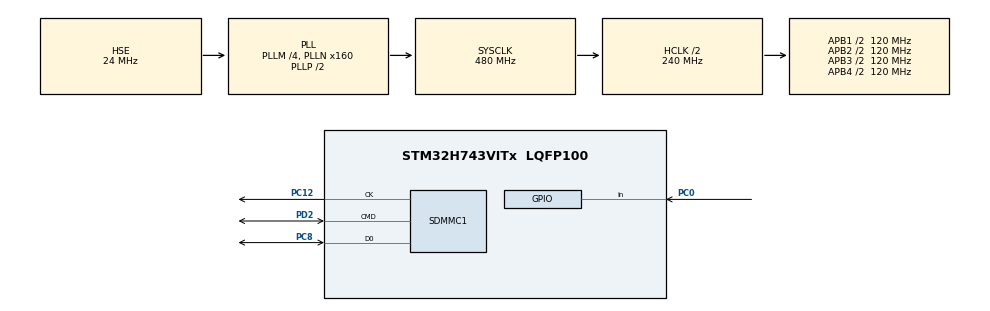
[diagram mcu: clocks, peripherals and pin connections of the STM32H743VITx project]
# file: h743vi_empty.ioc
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CORTEX_M7.AccessPermission-Cortex_Memory_Protection_Unit_Region0_Settings=MPU_REGION_FULL_ACCESS
CORTEX_M7.AccessPermission-Cortex_Memory_Protection_Unit_Region1_Settings=MPU_REGION_FULL_ACCESS
CORTEX_M7.BaseAddress-Cortex_Memory_Protection_Unit_Region0_Settings=0x90000000
CORTEX_M7.BaseAddress-Cortex_Memory_Protection_Unit_Region1_Settings=0x90000000
CORTEX_M7.CPU_ICache=Enabled
CORTEX_M7.DisableExec-Cortex_Memory_Protection_Unit_Region0_Settings=MPU_INSTRUCTION_ACCESS_DISABLE
CORTEX_M7.Enable-Cortex_Memory_Protection_Unit_Region0_Settings=MPU_REGION_ENABLE
CORTEX_M7.Enable-Cortex_Memory_Protection_Unit_Region1_Settings=MPU_REGION_ENABLE
CORTEX_M7.IsBufferable-Cortex_Memory_Protection_Unit_Region0_Settings=MPU_ACCESS_BUFFERABLE
CORTEX_M7.IsBufferable-Cortex_Memory_Protection_Unit_Region1_Settings=MPU_ACCESS_BUFFERABLE
CORTEX_M7.IsCacheable-Cortex_Memory_Protection_Unit_Region0_Settings=MPU_ACCESS_CACHEABLE
CORTEX_M7.IsCacheable-Cortex_Memory_Protection_Unit_Region1_Settings=MPU_ACCESS_CACHEABLE
CORTEX_M7.MPU_Control=MPU_PRIVILEGED_DEFAULT
CORTEX_M7.Size-Cortex_Memory_Protection_Unit_Region0_Settings=MPU_REGION_SIZE_16MB
CORTEX_M7.Size-Cortex_Memory_Protection_Unit_Region1_Settings=MPU_REGION_SIZE_1MB
FATFS.BSP.number=1
FATFS._MAX_SS=4096
FATFS0.BSP.STBoard=false
FATFS0.BSP.api=Unknown
FATFS0.BSP.instance=PC0
FATFS0.BSP.ip=GPIO
FATFS0.BSP.mode=Input
FATFS0.BSP.name=Detect_SDIO
FATFS0.BSP.solution=PC0
FREERTOS.HEAP_NUMBER=1
FREERTOS.Tasks01=defaultTask,8,128,StartDefaultTask,Default,NULL,Static,defaultTaskBuffer,defaultTaskControlBlock;writeSDTask,8,1000,StartWriteSDTask,Default,NULL,Static,writeSDTaskBuffer,writeSDTaskControlBlock
FREERTOS.configMAX_TASK_NAME_LEN=30
FREERTOS.configUSE_NEWLIB_REENTRANT=1
Mcu.Family=STM32H7
Mcu.Name=STM32H743VITx
Mcu.Package=LQFP100
NVIC.PriorityGroup=NVIC_PRIORITYGROUP_4
NVIC.SDMMC1_IRQn=true\:5\:0\:false\:false\:true\:true\:true\:true\:true
NVIC.TIM2_IRQn=true\:0\:0\:true\:false\:true\:false\:false\:true\:true
NVIC.TimeBase=TIM2_IRQn
NVIC.TimeBaseIP=TIM2
PA13\ (JTMS/SWDIO).Mode=Serial_Wire
PA13\ (JTMS/SWDIO).Signal=DEBUG_JTMS-SWDIO
PA14\ (JTCK/SWCLK).Mode=Serial_Wire
PA14\ (JTCK/SWCLK).Signal=DEBUG_JTCK-SWCLK
PC0.GPIO_PuPd=GPIO_PULLUP
PC0.Signal=GPIO_Input
PC12.GPIO_PuPd=GPIO_PULLUP
PC12.Mode=SD_1_bit
PC12.Signal=SDMMC1_CK
PC8.GPIO_PuPd=GPIO_PULLUP
PC8.Mode=SD_1_bit
PC8.Signal=SDMMC1_D0
PD2.GPIO_PuPd=GPIO_PULLUP
PD2.Mode=SD_1_bit
PD2.Signal=SDMMC1_CMD
PH0-OSC_IN\ (PH0).Mode=HSE-External-Oscillator
PH0-OSC_IN\ (PH0).Signal=RCC_OSC_IN
PH1-OSC_OUT\ (PH1).Mode=HSE-External-Oscillator
PH1-OSC_OUT\ (PH1).Signal=RCC_OSC_OUT
ProjectManager.HeapSize=0x200
ProjectManager.StackSize=0x400
ProjectManager.TargetToolchain=STM32CubeIDE
RCC.ADCFreq_Value=108000000
RCC.APB1Freq_Value=120000000
RCC.APB2Freq_Value=120000000
RCC.APB3Freq_Value=120000000
RCC.APB4Freq_Value=120000000
RCC.CortexFreq_Value=480000000
RCC.D1PPRE=RCC_APB3_DIV2
RCC.D2PPRE1=RCC_APB1_DIV2
RCC.D2PPRE2=RCC_APB2_DIV2
RCC.D3PPRE=RCC_APB4_DIV2
RCC.DIVM1=4
RCC.DIVM2=16
RCC.DIVN1=160
RCC.DIVN2=144
RCC.DIVQ1=20
RCC.DIVR2=1
RCC.EnbaleCSS=true
RCC.HCLKFreq_Value=240000000
RCC.HPRE=RCC_HCLK_DIV2
RCC.HSE_VALUE=24000000
RCC.PLLSourceVirtual=RCC_PLLSOURCE_HSE
RCC.SYSCLKFreq_VALUE=480000000
RCC.SYSCLKSource=RCC_SYSCLKSOURCE_PLLCLK
RCC.USBFreq_Value=48000000
SDMMC1.ClockDiv=1
VP_FATFS_VS_SDIO.Mode=SDIO
VP_FREERTOS_VS_CMSIS_V2.Mode=CMSIS_V2
VP_SYS_VS_tim2.Mode=TIM2
board=custom

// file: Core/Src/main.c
/* USER CODE BEGIN Header */
/**
  ******************************************************************************
  * @file           : main.c
  * @brief          : Main program body
  ******************************************************************************
  * @attention
  *
  * Copyright (c) 2022 STMicroelectronics.
  * All rights reserved.
  *
  * This software is licensed under terms that can be found in the LICENSE file
  * in the root directory of this software component.
  * If no LICENSE file comes with this software, it is provided AS-IS.
  *
  ******************************************************************************
  */
/* USER CODE END Header */
#include "main.h"
#include "cmsis_os.h"
#include "fatfs.h"

typedef StaticTask_t osStaticThreadDef_t;

SD_HandleTypeDef hsd1;

/* Definitions for defaultTask */
osThreadId_t defaultTaskHandle;
uint32_t defaultTaskBuffer[ 128 ];
osStaticThreadDef_t defaultTaskControlBlock;
const osThreadAttr_t defaultTask_attributes = {
  .name = "defaultTask",
  .cb_mem = &defaultTaskControlBlock,
  .cb_size = sizeof(defaultTaskControlBlock),
  .stack_mem = &defaultTaskBuffer[0],
  .stack_size = sizeof(defaultTaskBuffer),
  .priority = (osPriority_t) osPriorityLow,
};
/* Definitions for writeSDTask */
osThreadId_t writeSDTaskHandle;
uint32_t writeSDTaskBuffer[ 1000 ];
osStaticThreadDef_t writeSDTaskControlBlock;
const osThreadAttr_t writeSDTask_attributes = {
  .name = "writeSDTask",
  .cb_mem = &writeSDTaskControlBlock,
  .cb_size = sizeof(writeSDTaskControlBlock),
  .stack_mem = &writeSDTaskBuffer[0],
  .stack_size = sizeof(writeSDTaskBuffer),
  .priority = (osPriority_t) osPriorityLow,
};
/* USER CODE BEGIN PV */
#ifdef _MAX_SS
	FRESULT res; /* FatFs function common result code */
	uint32_t byteswritten, bytesread; /* File write/read counts */
	uint8_t wtext[] = "STM32 FATFS works great!"; /* File write buffer */
	uint8_t rtext[_MAX_SS];/* File read buffer */
#endif // _MAX_SS
/* USER CODE END PV */

void SystemClock_Config(void);
static void MPU_Config(void);
static void MX_GPIO_Init(void);
static void MX_SDMMC1_SD_Init(void);
void StartDefaultTask(void *argument);
void StartWriteSDTask(void *argument);

int main(void)
{
  /* USER CODE BEGIN 1 */
uint8_t cnt  = 0;
  /* USER CODE END 1 */

  /* MPU Configuration--------------------------------------------------------*/
  MPU_Config();

  /* Enable I-Cache---------------------------------------------------------*/
  SCB_EnableICache();

  /* MCU Configuration--------------------------------------------------------*/

  /* Reset of all peripherals, Initializes the Flash interface and the Systick. */
  HAL_Init();

  /* Configure the system clock */
  SystemClock_Config();

  /* Initialize all configured peripherals */
  MX_GPIO_Init();
  MX_SDMMC1_SD_Init();
  MX_FATFS_Init();

  /* Init scheduler */
  osKernelInitialize();

  /* Create the thread(s) */
  /* creation of defaultTask */
  defaultTaskHandle = osThreadNew(StartDefaultTask, NULL, &defaultTask_attributes);

  /* creation of writeSDTask */
  writeSDTaskHandle = osThreadNew(StartWriteSDTask, NULL, &writeSDTask_attributes);

  /* Start scheduler */
  osKernelStart();

  /* We should never get here as control is now taken by the scheduler */
  /* Infinite loop */
  while (1)
  {

    /* USER CODE BEGIN 3 */
	  cnt++;
	  HAL_Delay(1000);
  }
  /* USER CODE END 3 */
}

void SystemClock_Config(void)
{
  RCC_OscInitTypeDef RCC_OscInitStruct = {0};
  RCC_ClkInitTypeDef RCC_ClkInitStruct = {0};

  /** Supply configuration update enable
  */
  HAL_PWREx_ConfigSupply(PWR_LDO_SUPPLY);

  /** Configure the main internal regulator output voltage
  */
  __HAL_PWR_VOLTAGESCALING_CONFIG(PWR_REGULATOR_VOLTAGE_SCALE1);

  while(!__HAL_PWR_GET_FLAG(PWR_FLAG_VOSRDY)) {}

  __HAL_RCC_SYSCFG_CLK_ENABLE();
  __HAL_PWR_VOLTAGESCALING_CONFIG(PWR_REGULATOR_VOLTAGE_SCALE0);

  while(!__HAL_PWR_GET_FLAG(PWR_FLAG_VOSRDY)) {}

  /** Initializes the RCC Oscillators according to the specified parameters
  * in the RCC_OscInitTypeDef structure.
  */
  RCC_OscInitStruct.OscillatorType = RCC_OSCILLATORTYPE_HSE;
  RCC_OscInitStruct.HSEState = RCC_HSE_ON;
  RCC_OscInitStruct.PLL.PLLState = RCC_PLL_ON;
  RCC_OscInitStruct.PLL.PLLSource = RCC_PLLSOURCE_HSE;
  RCC_OscInitStruct.PLL.PLLM = 4;
  RCC_OscInitStruct.PLL.PLLN = 160;
  RCC_OscInitStruct.PLL.PLLP = 2;
  RCC_OscInitStruct.PLL.PLLQ = 20;
  RCC_OscInitStruct.PLL.PLLR = 2;
  RCC_OscInitStruct.PLL.PLLRGE = RCC_PLL1VCIRANGE_2;
  RCC_OscInitStruct.PLL.PLLVCOSEL = RCC_PLL1VCOWIDE;
  RCC_OscInitStruct.PLL.PLLFRACN = 0;
  if (HAL_RCC_OscConfig(&RCC_OscInitStruct) != HAL_OK)
  {
    Error_Handler();
  }

  /** Initializes the CPU, AHB and APB buses clocks
  */
  RCC_ClkInitStruct.ClockType = RCC_CLOCKTYPE_HCLK|RCC_CLOCKTYPE_SYSCLK
                              |RCC_CLOCKTYPE_PCLK1|RCC_CLOCKTYPE_PCLK2
                              |RCC_CLOCKTYPE_D3PCLK1|RCC_CLOCKTYPE_D1PCLK1;
  RCC_ClkInitStruct.SYSCLKSource = RCC_SYSCLKSOURCE_PLLCLK;
  RCC_ClkInitStruct.SYSCLKDivider = RCC_SYSCLK_DIV1;
  RCC_ClkInitStruct.AHBCLKDivider = RCC_HCLK_DIV2;
  RCC_ClkInitStruct.APB3CLKDivider = RCC_APB3_DIV2;
  RCC_ClkInitStruct.APB1CLKDivider = RCC_APB1_DIV2;
  RCC_ClkInitStruct.APB2CLKDivider = RCC_APB2_DIV2;
  RCC_ClkInitStruct.APB4CLKDivider = RCC_APB4_DIV2;

  if (HAL_RCC_ClockConfig(&RCC_ClkInitStruct, FLASH_LATENCY_4) != HAL_OK)
  {
    Error_Handler();
  }

  /** Enables the Clock Security System
  */
  HAL_RCC_EnableCSS();
}

static void MX_SDMMC1_SD_Init(void)
{

  hsd1.Instance = SDMMC1;
  hsd1.Init.ClockEdge = SDMMC_CLOCK_EDGE_RISING;
  hsd1.Init.ClockPowerSave = SDMMC_CLOCK_POWER_SAVE_DISABLE;
  hsd1.Init.BusWide = SDMMC_BUS_WIDE_1B;
  hsd1.Init.HardwareFlowControl = SDMMC_HARDWARE_FLOW_CONTROL_DISABLE;
  hsd1.Init.ClockDiv = 1;

}

static void MX_GPIO_Init(void)
{
  GPIO_InitTypeDef GPIO_InitStruct = {0};

  /* GPIO Ports Clock Enable */
  __HAL_RCC_GPIOH_CLK_ENABLE();
  __HAL_RCC_GPIOC_CLK_ENABLE();
  __HAL_RCC_GPIOA_CLK_ENABLE();
  __HAL_RCC_GPIOD_CLK_ENABLE();

  /*Configure GPIO pin : PC0 */
  GPIO_InitStruct.Pin = GPIO_PIN_0;
  GPIO_InitStruct.Mode = GPIO_MODE_INPUT;
  GPIO_InitStruct.Pull = GPIO_PULLUP;
  HAL_GPIO_Init(GPIOC, &GPIO_InitStruct);

}

void StartDefaultTask(void *argument)
{
  for(;;)
  {
    osDelay(1);
  }
}

void StartWriteSDTask(void *argument)
{
  /* USER CODE BEGIN StartWriteSDTask */
  /* Infinite loop */
  for(;;)
  {
	  	if(f_mount(&SDFatFS, (TCHAR const*)SDPath, 0) != FR_OK)
	  	{
	  		Error_Handler();
	  	}
	  	else
	  	{
	  		if(f_mkfs((TCHAR const*)SDPath, FM_ANY, 0, rtext, sizeof(rtext)) != FR_OK)
	  	    {
	  			Error_Handler();
	  	    }
	  		else
	  		{
	  			//Open file for writing (Create)
	  			if(f_open(&SDFile, "STM32.TXT", FA_CREATE_ALWAYS | FA_WRITE) != FR_OK)
	  			{
	  				Error_Handler();
	  			}
	  			else
	  			{

	  				//Write to the text file
	  				res = f_write(&SDFile, (void *)wtext, strlen((char *)wtext), (UINT *)&byteswritten);
	  				if((byteswritten == 0) || (res != FR_OK))
	  				{
	  					Error_Handler();
	  				}
	  				else
	  				{

	  					f_close(&SDFile);
	  				}
	  			}
	  		}
	  	}
	  	f_mount(&SDFatFS, (TCHAR const*)NULL, 0);
    osDelay(1000000);
  }
  /* USER CODE END StartWriteSDTask */
}

/* MPU Configuration */

void MPU_Config(void)
{
  MPU_Region_InitTypeDef MPU_InitStruct = {0};

  /* Disables the MPU */
  HAL_MPU_Disable();

  /** Initializes and configures the Region and the memory to be protected
  */
  MPU_InitStruct.Enable = MPU_REGION_ENABLE;
  MPU_InitStruct.Number = MPU_REGION_NUMBER0;
  MPU_InitStruct.BaseAddress = 0x90000000;
  MPU_InitStruct.Size = MPU_REGION_SIZE_16MB;
  MPU_InitStruct.SubRegionDisable = 0x0;
  MPU_InitStruct.TypeExtField = MPU_TEX_LEVEL0;
  MPU_InitStruct.AccessPermission = MPU_REGION_FULL_ACCESS;
  MPU_InitStruct.DisableExec = MPU_INSTRUCTION_ACCESS_DISABLE;
  MPU_InitStruct.IsShareable = MPU_ACCESS_NOT_SHAREABLE;
  MPU_InitStruct.IsCacheable = MPU_ACCESS_CACHEABLE;
  MPU_InitStruct.IsBufferable = MPU_ACCESS_BUFFERABLE;

  HAL_MPU_ConfigRegion(&MPU_InitStruct);

  /** Initializes and configures the Region and the memory to be protected
  */
  MPU_InitStruct.Number = MPU_REGION_NUMBER1;
  MPU_InitStruct.Size = MPU_REGION_SIZE_1MB;
  MPU_InitStruct.DisableExec = MPU_INSTRUCTION_ACCESS_ENABLE;

  HAL_MPU_ConfigRegion(&MPU_InitStruct);
  /* Enables the MPU */
  HAL_MPU_Enable(MPU_PRIVILEGED_DEFAULT);

}

void HAL_TIM_PeriodElapsedCallback(TIM_HandleTypeDef *htim)
{
  if (htim->Instance == TIM2) {
    HAL_IncTick();
  }
}

void Error_Handler(void)
{
  __disable_irq();
  while (1)
  {
  }
}
